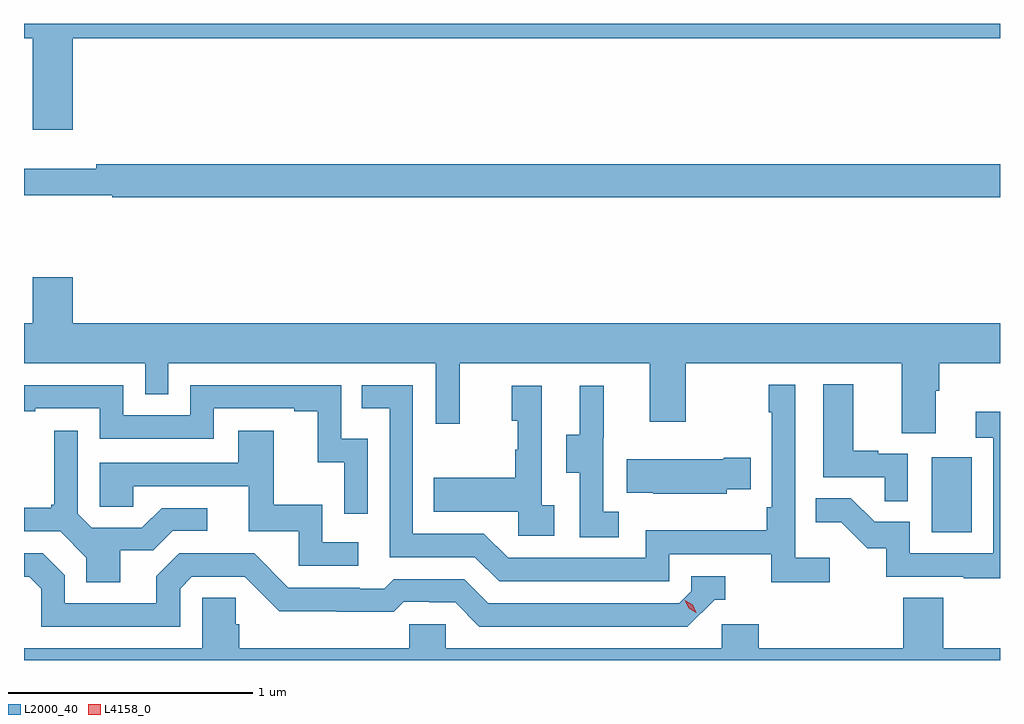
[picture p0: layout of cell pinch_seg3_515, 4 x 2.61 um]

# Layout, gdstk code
import gdstk
lib = gdstk.Library(unit=1e-6, precision=1e-09)
def R(c, l, rs):  # rectangles x0, y0, x1, y1
    for r in rs: c.add(gdstk.rectangle(r[:2], r[2:], *l))
def P(c, l, *ps):  # polygons
    for p in ps: c.add(gdstk.Polygon(p, *l))
L2000_40 = (2000, 40)
L4158_0 = (4158, 0)

pinch_seg3_515 = lib.new_cell('pinch_seg3_515')
R(pinch_seg3_515, L2000_40, [(971.888,666.924,972.052,667.231)])
P(pinch_seg3_515, L2000_40, [(968.368,668.948),(972.168,668.948),(972.168,669.007),(968.168,669.007),(968.168,668.948),(968.204,668.948),(968.204,668.574),(968.368,668.574)],
  [(972.168,668.432),(968.464,668.432),(968.464,668.413),(968.168,668.413),(968.168,668.304),(968.53,668.304),(968.53,668.296),(972.168,668.296)],
  [(971.905,667.504),(971.918,667.504),(971.918,667.616),(972.168,667.616),(972.168,667.78),(968.368,667.78),(968.368,667.969),(968.204,667.969),(968.204,667.78),(968.168,667.78),(968.168,667.616),(968.664,667.616),(968.664,667.489),(968.76,667.489),(968.76,667.616),(969.855,667.616),(969.855,667.368),(969.953,667.368),(969.953,667.616),(970.733,667.616),(970.733,667.377),(970.881,667.377),(970.881,667.616),(971.765,667.616),(971.765,667.33),(971.905,667.33)],
  [(971.79,667.245),(971.669,667.245),(971.669,667.258),(971.566,667.258),(971.566,667.531),(971.444,667.531),(971.444,667.149),(971.695,667.149),(971.695,667.051),(971.79,667.051)],
  [(971.47,666.82),(971.328,666.82),(971.328,667.528),(971.22,667.528),(971.22,667.415),(971.232,667.415),(971.232,667.027),(971.212,667.027),(971.212,666.931),(970.716,666.931),(970.716,666.819),(970.152,666.819),(970.053,666.918),(969.762,666.918),(969.762,667.527),(969.553,667.527),(969.553,667.431),(969.666,667.431),(969.666,666.822),(970.016,666.822),(970.115,666.723),(970.812,666.723),(970.812,666.834),(971.231,666.834),(971.231,666.718),(971.47,666.718)],
  [(969.576,667.308),(969.468,667.308),(969.468,667.527),(968.85,667.527),(968.85,667.404),(968.574,667.404),(968.574,667.527),(968.168,667.527),(968.168,667.419),(968.215,667.419),(968.215,667.431),(968.478,667.431),(968.478,667.308),(968.946,667.308),(968.946,667.431),(969.275,667.431),(969.275,667.419),(969.371,667.419),(969.371,667.211),(969.48,667.211),(969.48,666.999),(969.576,666.999)],
  [(970.606,667.007),(970.542,667.007),(970.542,667.311),(970.544,667.311),(970.544,667.525),(970.445,667.525),(970.445,667.323),(970.391,667.323),(970.391,667.168),(970.446,667.168),(970.446,666.904),(970.606,666.904)],
  [(970.342,667.034),(970.29,667.034),(970.29,667.525),(970.166,667.525),(970.166,667.38),(970.192,667.38),(970.192,667.262),(970.182,667.262),(970.182,667.147),(969.847,667.147),(969.847,667.007),(970.194,667.007),(970.194,666.909),(970.342,666.909)],
  [(972.168,667.417),(972.069,667.417),(972.069,667.311),(972.141,667.311),(972.141,666.837),(971.799,666.837),(971.799,666.966),(971.654,666.966),(971.556,667.064),(971.413,667.064),(971.413,666.965),(971.517,666.965),(971.624,666.858),(971.701,666.858),(971.701,666.741),(972.019,666.741),(972.019,666.736),(972.168,666.736)],
  [(969.538,666.882),(969.39,666.882),(969.39,667.036),(969.191,667.036),(969.191,667.339),(969.047,667.339),(969.047,667.209),(968.478,667.209),(968.478,667.029),(968.615,667.029),(968.615,667.113),(969.089,667.113),(969.089,666.927),(969.294,666.927),(969.294,666.786),(969.538,666.786)],
  [(968.563,666.85),(968.698,666.85),(968.778,666.93),(968.92,666.93),(968.92,667.023),(968.732,667.023),(968.651,666.942),(968.445,666.942),(968.388,666.999),(968.388,667.339),(968.291,667.339),(968.291,667.036),(968.28,667.036),(968.28,667.024),(968.168,667.024),(968.168,666.927),(968.316,666.927),(968.423,666.82),(968.423,666.718),(968.563,666.718)],
  [(971.049,667.1),(971.147,667.1),(971.147,667.23),(971.036,667.23),(971.036,667.222),(970.639,667.222),(970.639,667.085),(970.747,667.085),(970.747,667.082),(971.049,667.082)],
  [(968.808,666.693),(968.856,666.741),(969.072,666.741),(969.214,666.599),(969.45,666.599),(969.45,666.597),(969.683,666.597),(969.725,666.639),(969.828,666.639),(969.828,666.636),(969.935,666.636),(970.034,666.537),(970.887,666.537),(970.998,666.648),(971.041,666.648),(971.041,666.744),(970.902,666.744),(970.902,666.681),(970.854,666.633),(970.071,666.633),(969.972,666.732),(969.683,666.732),(969.644,666.693),(969.545,666.693),(969.545,666.696),(969.252,666.696),(969.111,666.837),(968.805,666.837),(968.711,666.743),(968.711,666.633),(968.334,666.633),(968.334,666.747),(968.244,666.837),(968.168,666.837),(968.168,666.741),(968.19,666.741),(968.238,666.693),(968.238,666.537),(968.808,666.537)],
  [(972.168,666.448),(971.936,666.448),(971.936,666.656),(971.771,666.656),(971.771,666.448),(971.18,666.448),(971.18,666.546),(971.028,666.546),(971.028,666.448),(969.897,666.448),(969.897,666.546),(969.747,666.546),(969.747,666.448),(969.05,666.448),(969.05,666.546),(969.035,666.546),(969.035,666.656),(968.898,666.656),(968.898,666.448),(968.168,666.448),(968.168,666.4),(972.168,666.4)])
P(pinch_seg3_515, L4158_0, [(970.924,666.594),(970.893,666.613),(970.877,666.646),(970.877,666.646),(970.877,666.646),(970.908,666.627),(970.924,666.594),(970.924,666.594)])

lib.write_gds('pinch_seg3_515.gds')
